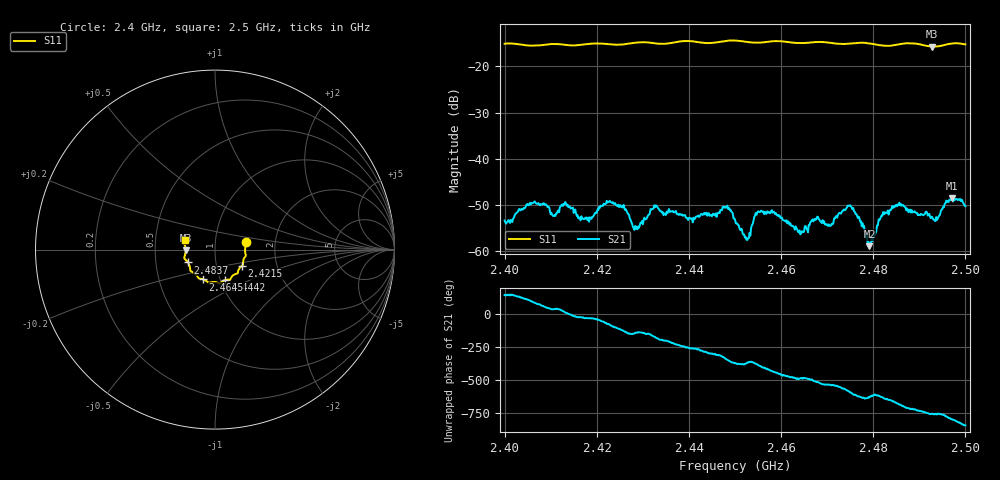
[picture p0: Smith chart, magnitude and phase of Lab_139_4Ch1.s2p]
# Hz S RI R 50
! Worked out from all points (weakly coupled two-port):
!   601 points, 2.4 GHz to 2.5 GHz, reference 50 ohm
!   highest |S21| = -48.55 dB at 2.497 GHz (marker M1); lowest = -59.0 dB at 2.4792 GHz (marker M2)
!   lowest |S11| = -15.7 dB at 2.4928 GHz (marker M3), VSWR 1.39, Z = 36 - j0.37 ohm
!   |S11| at or under -10 dB: start of sweep to end of sweep
!   S12 and S22 are empty: the file has one direction only
!   S11 on the Smith chart (normalised r, x): 2.4 GHz: 1.41, +0.12; 2.4215 GHz: 1.33, -0.25; 2.4442 GHz: 1.05, -0.37; 2.4645 GHz: 0.83, -0.29; 2.4837 GHz: 0.73, -0.11; 2.5 GHz: 0.71, +0.07
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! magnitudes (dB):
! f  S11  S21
! 2.4 GHz  -15.1  -53.4
! 2.4063 GHz  -15.5  -49.5
! 2.4167 GHz  -15.3  -52.5
! 2.4215 GHz  -15.1  -49.8
! 2.4255 GHz  -15.3  -50.4
! 2.4283 GHz  -14.9  -54.6
! 2.4333 GHz  -15.1  -50.8
! 2.4442 GHz  -15.0  -51.9
! 2.4478 GHz  -14.5  -50.5
! 2.45 GHz  -14.4  -53.2
! 2.4525 GHz  -14.7  -57.6
! 2.4553 GHz  -14.9  -51.6
! 2.4645 GHz  -15.0  -55.7
! 2.4667 GHz  -14.8  -53.4
! 2.4707 GHz  -14.9  -54.6
! 2.4748 GHz  -15.1  -50.2
! 2.4792 GHz  -15.0  -59.0
! 2.4833 GHz  -15.6  -52.1
! 2.4837 GHz  -15.5  -51.1
! 2.4928 GHz  -15.7  -52.7
! 2.497 GHz  -15.0  -48.6
! 2.5 GHz  -15.3  -50.3
